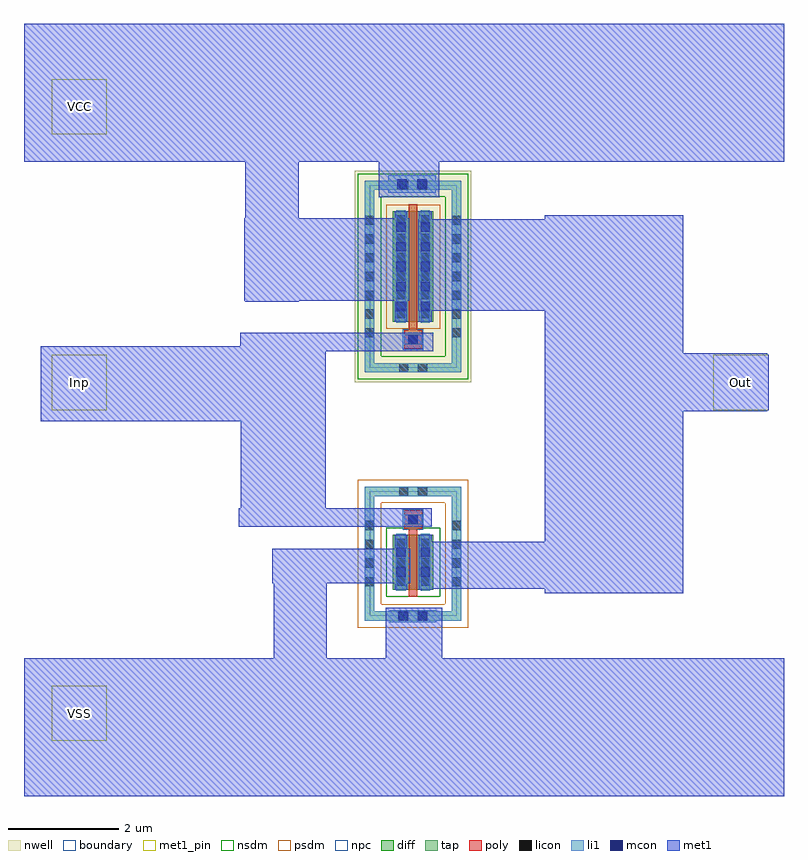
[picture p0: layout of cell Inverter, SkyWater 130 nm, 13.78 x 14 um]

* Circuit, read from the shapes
.subckt Inverter Inp Out VCC VSS
XM1 Out Inp VSS VSS sky130_fd_pr__nfet_01v8 w=1 l=0.15
XM2 Out Inp VCC VCC sky130_fd_pr__pfet_01v8 w=2 l=0.15
.ends

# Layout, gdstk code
import gdstk
lib = gdstk.Library(unit=1e-6, precision=1e-09)
def R(c, l, rs):  # rectangles x0, y0, x1, y1
    for r in rs: c.add(gdstk.rectangle(r[:2], r[2:], *l))
def A(c, l, x, y, w, h, nx, ny, dx, dy):  # array of equal rectangles
    R(c, l, [(x+i*dx, y+j*dy, x+i*dx+w, y+j*dy+h) for i in range(nx) for j in range(ny)])
nwell = (64, 20)
diff = (65, 20)
tap = (65, 44)
poly = (66, 20)
licon = (66, 44)
li1 = (67, 20)
mcon = (67, 44)
met1_pin = (68, 16)
met1 = (68, 20)
nsdm = (93, 44)
psdm = (94, 20)
npc = (95, 20)
boundary = (235, 4)

sky130_fd_pr__nfet_01v8_ = lib.new_cell('sky130_fd_pr__nfet_01v8_CLCAJE')
R(sky130_fd_pr__nfet_01v8_, diff, [(-0.365,-0.655,0.365,0.345)])
R(sky130_fd_pr__nfet_01v8_, tap, [(-0.875,-1.215,0.875,-1.045), (-0.875,-1.045,-0.705,1.045), (0.705,-1.045,0.875,1.045), (-0.875,1.045,0.875,1.215)])
R(sky130_fd_pr__nfet_01v8_, poly, [(-0.075,-0.785,0.075,0.455), (-0.165,0.455,0.165,0.785)])
A(sky130_fd_pr__nfet_01v8_, licon, -0.875, -0.595, 0.17, 0.17, 1, 4, 0, 0.34)
A(sky130_fd_pr__nfet_01v8_, licon, 0.705, -0.595, 0.17, 0.17, 1, 4, 0, 0.34)
A(sky130_fd_pr__nfet_01v8_, licon, -0.305, -0.58, 0.17, 0.17, 1, 3, 0, 0.34)
A(sky130_fd_pr__nfet_01v8_, licon, 0.135, -0.58, 0.17, 0.17, 1, 3, 0, 0.34)
R(sky130_fd_pr__nfet_01v8_, licon, [(-0.255,-1.215,-0.085,-1.045), (0.085,-1.215,0.255,-1.045), (-0.085,0.535,0.085,0.705), (-0.255,1.045,-0.085,1.215), (0.085,1.045,0.255,1.215)])
R(sky130_fd_pr__nfet_01v8_, li1, [(-0.875,-1.215,0.875,-1.045), (-0.875,-1.045,-0.705,1.045), (0.705,-1.045,0.875,1.045), (-0.305,-0.675,-0.135,0.365), (0.135,-0.675,0.305,0.365), (-0.165,0.535,0.165,0.705), (-0.875,1.045,0.875,1.215)])
R(sky130_fd_pr__nfet_01v8_, mcon, [(-0.305,-0.42,-0.135,-0.25), (0.135,-0.42,0.305,-0.25), (-0.305,-0.06,-0.135,0.11), (0.135,-0.06,0.305,0.11), (-0.085,0.535,0.085,0.705)])
R(sky130_fd_pr__nfet_01v8_, met1, [(-0.335,-0.655,-0.105,0.345), (0.105,-0.655,0.335,0.345), (-0.145,0.505,0.145,0.735)])
R(sky130_fd_pr__nfet_01v8_, nsdm, [(-0.49,-0.78,0.49,0.47)])
R(sky130_fd_pr__nfet_01v8_, psdm, [(-1,-1.34,1,-0.92), (-1,-0.92,-0.58,0.92), (0.58,-0.92,1,0.92), (-1,0.92,1,1.34)])
R(sky130_fd_pr__nfet_01v8_, npc, [(-0.185,0.435,0.185,0.805)])
R(sky130_fd_pr__nfet_01v8_, boundary, [(-0.79,-1.13,0.79,1.13)])
sky130_fd_pr__nfet_01v8_.add(gdstk.Label('B', (0,-1.13), layer=67, texttype=5))
sky130_fd_pr__nfet_01v8_.add(gdstk.Label('D', (-0.22,-0.155), layer=67, texttype=5))
sky130_fd_pr__nfet_01v8_.add(gdstk.Label('S', (0.22,-0.155), layer=67, texttype=5))
sky130_fd_pr__nfet_01v8_.add(gdstk.Label('G', (0,0.62), layer=67, texttype=5))

sky130_fd_pr__pfet_01v8_ = lib.new_cell('sky130_fd_pr__pfet_01v8_KKBWU4')
R(sky130_fd_pr__pfet_01v8_, nwell, [(-1.055,-1.92,1.055,1.92)])
R(sky130_fd_pr__pfet_01v8_, diff, [(-0.365,-0.82,0.365,1.18)])
R(sky130_fd_pr__pfet_01v8_, tap, [(-0.875,-1.74,0.875,-1.57), (-0.875,-1.57,-0.705,1.57), (0.705,-1.57,0.875,1.57), (-0.875,1.57,0.875,1.74)])
R(sky130_fd_pr__pfet_01v8_, poly, [(-0.165,-1.305,0.165,-0.975), (-0.075,-0.975,0.075,1.31)])
A(sky130_fd_pr__pfet_01v8_, licon, -0.875, -1.105, 0.17, 0.17, 1, 7, 0, 0.34)
A(sky130_fd_pr__pfet_01v8_, licon, 0.705, -1.105, 0.17, 0.17, 1, 7, 0, 0.34)
A(sky130_fd_pr__pfet_01v8_, licon, -0.305, -0.755, 0.17, 0.17, 1, 6, 0, 0.34)
A(sky130_fd_pr__pfet_01v8_, licon, 0.135, -0.755, 0.17, 0.17, 1, 6, 0, 0.34)
R(sky130_fd_pr__pfet_01v8_, licon, [(-0.255,-1.74,-0.085,-1.57), (0.085,-1.74,0.255,-1.57), (-0.085,-1.225,0.085,-1.055), (-0.255,1.57,-0.085,1.74), (0.085,1.57,0.255,1.74)])
R(sky130_fd_pr__pfet_01v8_, li1, [(-0.875,-1.74,0.875,-1.57), (-0.875,-1.57,-0.705,1.57), (0.705,-1.57,0.875,1.57), (-0.165,-1.225,0.165,-1.055), (-0.305,-0.84,-0.135,1.2), (0.135,-0.84,0.305,1.2), (-0.875,1.57,0.875,1.74)])
A(sky130_fd_pr__pfet_01v8_, mcon, -0.305, -0.625, 0.17, 0.17, 1, 5, 0, 0.36)
A(sky130_fd_pr__pfet_01v8_, mcon, 0.135, -0.625, 0.17, 0.17, 1, 5, 0, 0.36)
R(sky130_fd_pr__pfet_01v8_, mcon, [(-0.085,-1.225,0.085,-1.055)])
R(sky130_fd_pr__pfet_01v8_, met1, [(-0.145,-1.255,0.145,-1.025), (-0.335,-0.82,-0.105,1.18), (0.105,-0.82,0.335,1.18)])
R(sky130_fd_pr__pfet_01v8_, nsdm, [(-1,-1.865,1,-1.445), (-1,-1.445,-0.58,1.445), (0.58,-1.445,1,1.445), (-1,1.445,1,1.865)])
R(sky130_fd_pr__pfet_01v8_, psdm, [(-0.49,-0.945,0.49,1.305)])
R(sky130_fd_pr__pfet_01v8_, npc, [(-0.185,-1.325,0.185,-0.955)])
R(sky130_fd_pr__pfet_01v8_, boundary, [(-0.79,-1.655,0.79,1.655)])
sky130_fd_pr__pfet_01v8_.add(gdstk.Label('B', (0,-1.655), layer=67, texttype=5))
sky130_fd_pr__pfet_01v8_.add(gdstk.Label('D', (-0.22,0.18), layer=67, texttype=5))
sky130_fd_pr__pfet_01v8_.add(gdstk.Label('S', (0.22,0.18), layer=67, texttype=5))
sky130_fd_pr__pfet_01v8_.add(gdstk.Label('G', (0,-1.14), layer=67, texttype=5))

inverter = lib.new_cell('Inverter')
R(inverter, li1, [(3.13,-6.845,3.975,-6.63), (3.1,0.94,3.97,1.26)])
R(inverter, mcon, [(3.285,-6.825,3.455,-6.655), (3.645,-6.825,3.815,-6.655), (3.27,1.015,3.44,1.185), (3.63,1.015,3.8,1.185)])
R(inverter, met1_pin, [(-3,-9,-2,-8), (-3,-3,-2,-2), (9,-3,10,-2), (-3,2,-2,3)])
R(inverter, met1, [(-3.5,-10,10.28,-7.5), (1.03,-7.5,1.99,-6.145), (3.055,-7.5,4.085,-6.585), (5.945,-6.32,8.45,-6.245), (3.685,-6.245,8.45,-5.39), (1,-6.145,3.5,-5.515), (5.945,-5.39,8.45,-3.025), (0.395,-5.12,3.895,-4.785), (0.43,-4.785,1.975,-3.205), (-3.195,-3.205,1.975,-1.935), (5.945,-3.025,9.975,-3), (5.945,-3,10,-2), (5.945,-2,9.975,-1.975), (5.945,-1.975,8.45,-1.2), (-3.195,-1.935,3.92,-1.845), (0.42,-1.845,3.92,-1.6), (3.645,-1.2,8.45,0.46), (0.515,-1.035,1.485,-1.02), (0.495,-1.02,3.485,0.475), (5.945,0.46,8.45,0.535), (0.515,0.475,1.485,1.5), (2.935,0.86,4.03,1.5), (-3.5,1.5,10.28,4)])
inverter.add(gdstk.Reference(sky130_fd_pr__nfet_01v8_, (3.555,-5.605)))
inverter.add(gdstk.Reference(sky130_fd_pr__pfet_01v8_, (3.555,-0.58)))
inverter.add(gdstk.Label('VCC', (-2.5,2.5), layer=68, texttype=5))
inverter.add(gdstk.Label('Out', (9.5,-2.5), layer=68, texttype=5))
inverter.add(gdstk.Label('Inp', (-2.5,-2.5), layer=68, texttype=5))
inverter.add(gdstk.Label('VSS', (-2.5,-8.5), layer=68, texttype=5))

lib.write_gds('Inverter.gds')
